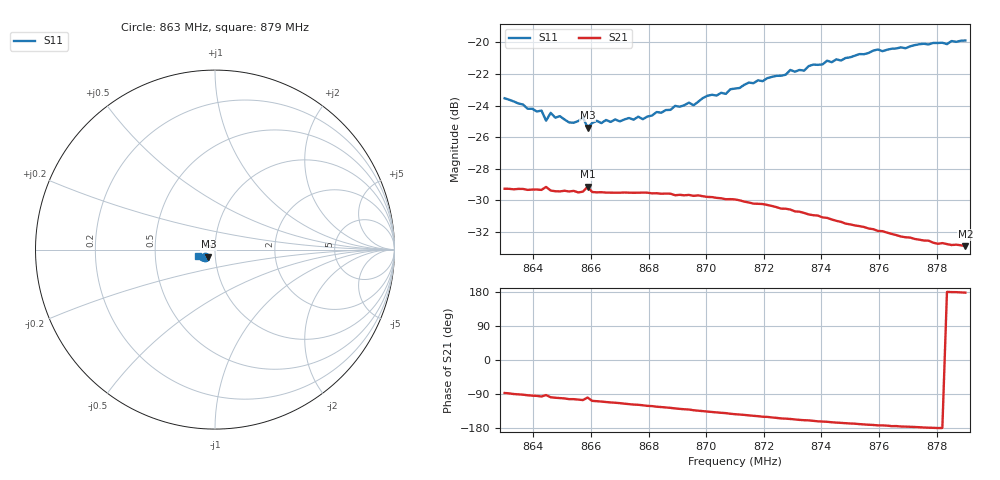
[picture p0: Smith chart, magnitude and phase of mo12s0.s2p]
# HZ S RI R 50
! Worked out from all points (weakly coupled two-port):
!   101 points, 863 MHz to 879 MHz, reference 50 ohm
!   highest |S21| = -29.14 dB at 865.88 MHz (marker M1); lowest = -32.9 dB at 879 MHz (marker M2)
!   lowest |S11| = -25.4 dB at 865.88 MHz (marker M3), VSWR 1.11, Z = 46.3 - j3.64 ohm
!   |S11| at or under -10 dB: start of sweep to end of sweep
!   S12 and S22 are empty: the file has one direction only
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8.63e8  -0.0529 -0.0403  0.0018 -0.0344  0 0  0 0
8.638e8  -0.0473 -0.0395  -0.00181 -0.0341  0 0  0 0
8.6428e8  -0.0457 -0.0401  -0.00377 -0.0339  0 0  0 0
8.6444e8  -0.0397 -0.0402  -0.00152 -0.0349  0 0  0 0
8.646e8  -0.0453 -0.0391  -0.00494 -0.0336  0 0  0 0
8.6524e8  -0.0405 -0.0384  -0.00774 -0.0328  0 0  0 0
8.6572e8  -0.0399 -0.0419  -0.00914 -0.0324  0 0  0 0
8.6588e8  -0.0367 -0.0392  -0.00552 -0.0345  0 0  0 0
8.662e8  -0.0385 -0.0414  -0.0108 -0.0318  0 0  0 0
8.678e8  -0.034 -0.0459  -0.0165 -0.0291  0 0  0 0
8.6844e8  -0.0346 -0.0489  -0.0187 -0.0275  0 0  0 0
8.694e8  -0.0359 -0.0536  -0.0215 -0.0249  0 0  0 0
8.6956e8  -0.0357 -0.0522  -0.0221 -0.0241  0 0  0 0
8.7004e8  -0.0376 -0.0564  -0.0233 -0.0225  0 0  0 0
8.7068e8  -0.0389 -0.0566  -0.0245 -0.0204  0 0  0 0
8.71e8  -0.0408 -0.0587  -0.0254 -0.0192  0 0  0 0
8.7276e8  -0.0495 -0.0616  -0.0269 -0.0127  0 0  0 0
8.7292e8  -0.0517 -0.0634  -0.027 -0.0122  0 0  0 0
8.734e8  -0.0531 -0.0617  -0.0269 -0.0104  0 0  0 0
8.7372e8  -0.0565 -0.0636  -0.0268 -0.00945  0 0  0 0
8.7644e8  -0.0782 -0.0548  -0.0247 -0.00236  0 0  0 0
8.79e8  -0.0946 -0.0367  -0.0226 0.000882  0 0  0 0
